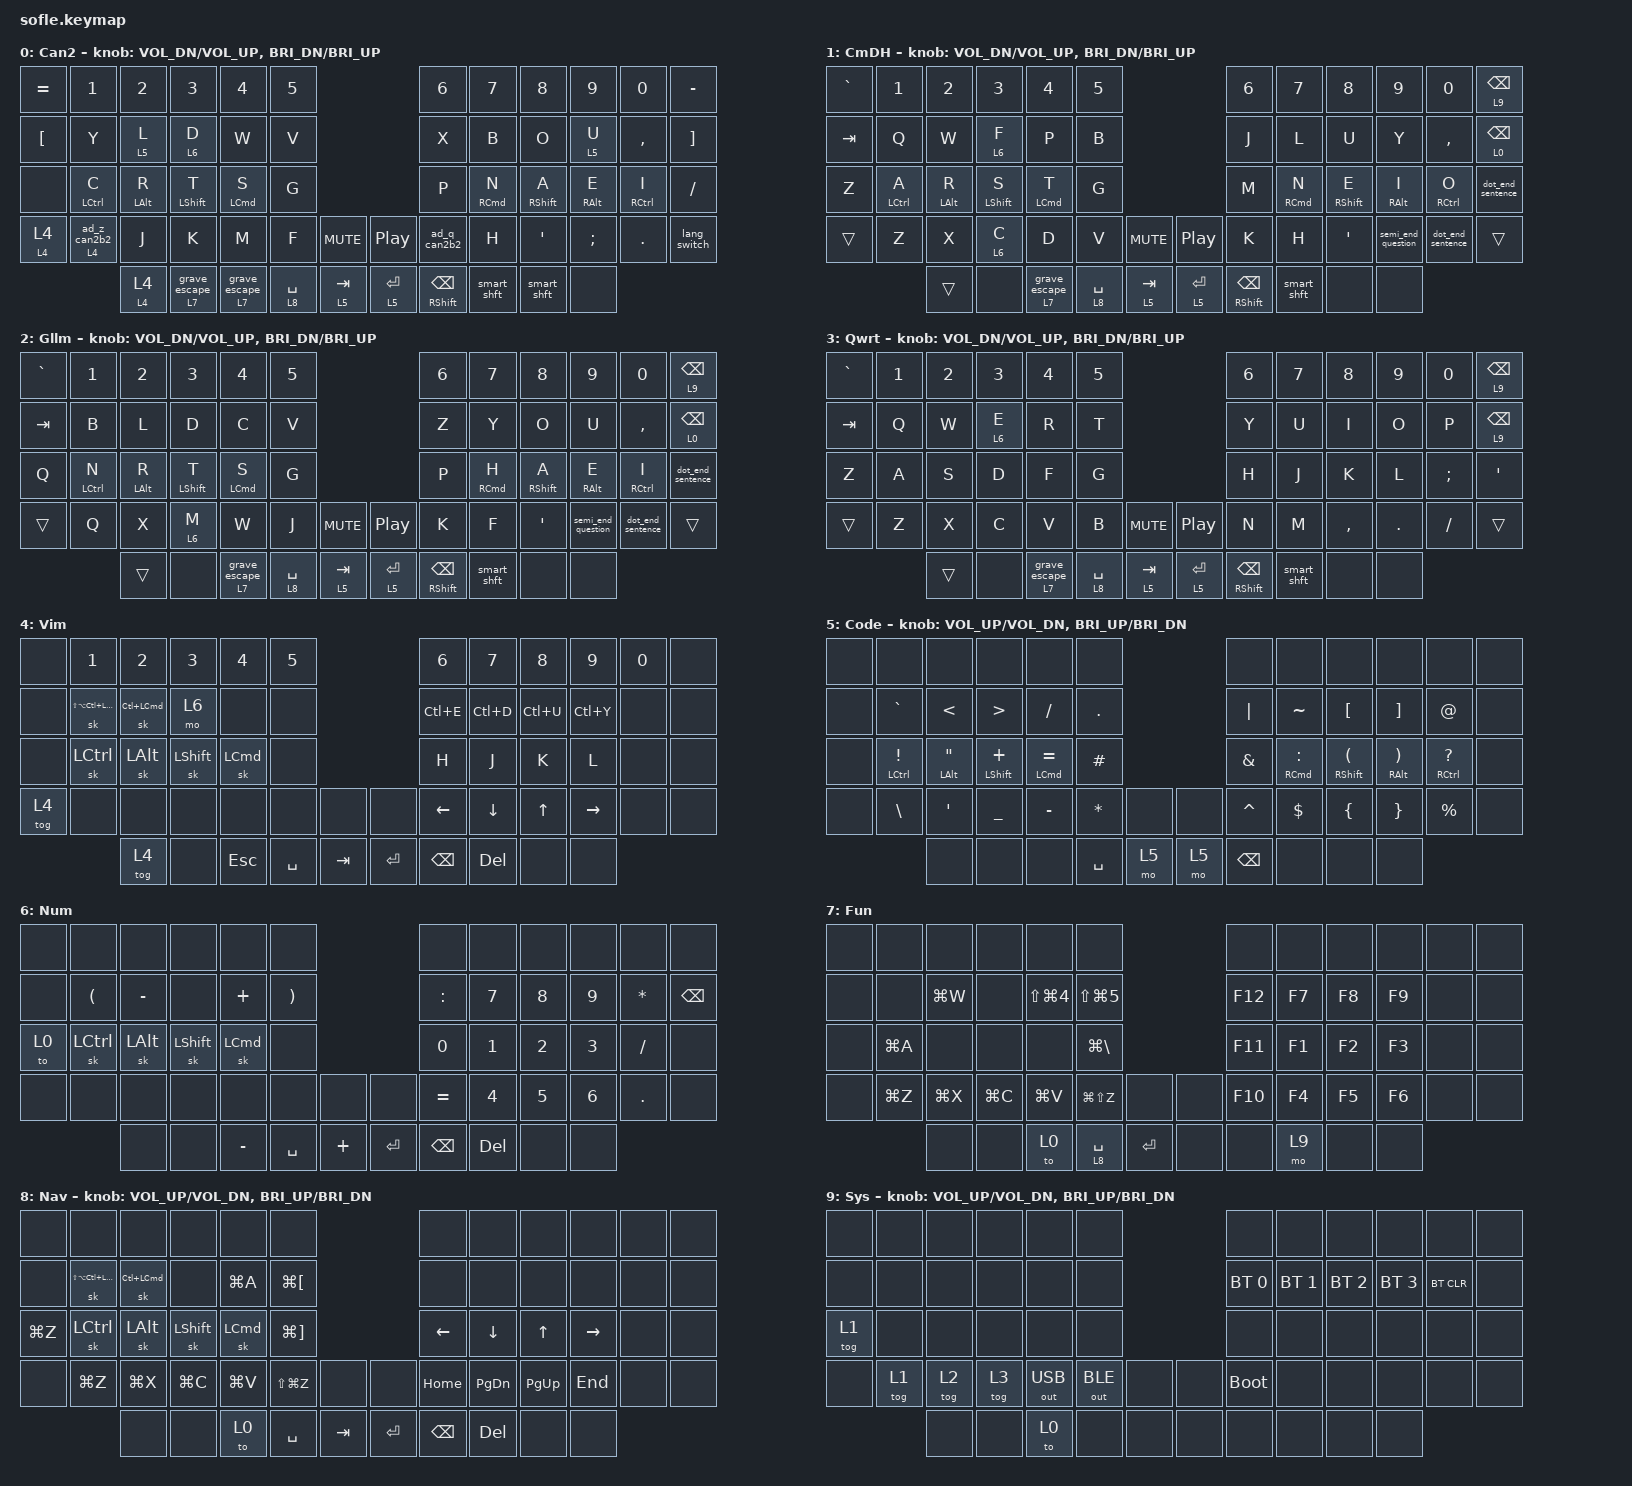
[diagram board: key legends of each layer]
/*
 * Copyright (c) 2020 The ZMK Contributors
 *
 * SPDX-License-Identifier: MIT
 */

#include <behaviors.dtsi>
#include <dt-bindings/zmk/bt.h>
#include <dt-bindings/zmk/keys.h>
#include <dt-bindings/zmk/outputs.h>

#define CMK 0
#define SMK 1
#define QWT 2
#define LOWER 3
#define RAISE 4
#define ADJUST 5

&mt { quick-tap-ms = <150>; };

&sl { /delete-property/ quick-release; };

&gresc {
    keep-mods = <(MOD_RSFT|MOD_LGUI|MOD_LCTL)>;
    mods = <(MOD_LGUI|MOD_LSFT|MOD_RGUI|MOD_RSFT|MOD_LCTL)>;
};

/ {
    behaviors {
        lh_hm: lh_hm {
            compatible = "zmk,behavior-hold-tap";
            label = "left_hand_homerow_mods";
            bindings = <&kp>, <&kp>;

            #binding-cells = <2>;
            tapping-term-ms = <280>;
            quick-tap-ms = <175>;
            flavor = "balanced";
            hold-trigger-on-release;
            hold-trigger-key-positions = <6 7 8 9 10 11 18 19 20 21 22 23 30 31 32 33 34 35 34 35 43 44 45 46 47 48 49 55 56 57 58 59 50 51 52 53 54>;
            require-prior-idle-ms = <75>;
        };

        rh_hm: rh_hm {
            compatible = "zmk,behavior-hold-tap";
            label = "right_hand_homerow_mods";
            bindings = <&kp>, <&kp>;

            #binding-cells = <2>;
            tapping-term-ms = <280>;
            quick-tap-ms = <175>;
            flavor = "balanced";
            hold-trigger-key-positions = <0 1 2 3 4 5 12 13 14 15 16 17 24 25 26 27 28 29 36 37 38 40 39 50 51 52 53 54 55 56 57 58 59 17 29 41 42>;
            hold-trigger-on-release;
            require-prior-idle-ms = <75>;
        };

        smart_shft: smart_shft {
            compatible = "zmk,behavior-mod-morph";
            label = "SMART_SHFT";
            bindings = <&quick_sk LSHFT>, <&caps_word>;

            #binding-cells = <0>;
            mods = <(MOD_LSFT)>;
        };

        quick_sk: quick_sk {
            compatible = "zmk,behavior-sticky-key";
            label = "QUICK_STICKY_KEY";
            bindings = <&kp>;
            #binding-cells = <1>;
            release-after-ms = <900>;
            quick-release;
        };

        quick_hold_tap: quick_hold_tap {
            compatible = "zmk,behavior-hold-tap";
            label = "QUICK_HOLD_TAP";
            bindings = <&quick_sk>, <&kp>;

            #binding-cells = <2>;
            tapping-term-ms = <120>;
            flavor = "balanced";
        };

        lh_lt: lh_lt {
            compatible = "zmk,behavior-hold-tap";
            label = "left_hand_layer_tap";
            bindings = <&mo>, <&kp>;

            #binding-cells = <2>;
            tapping-term-ms = <280>;
            quick-tap-ms = <175>;
            flavor = "balanced";
            hold-trigger-key-positions = <6 7 8 9 10 11 18 19 20 21 22 23 30 31 32 33 34 35 50 51 52 53 54 55 56 57 58 59 30 34 35 43 44 45 46 47 48 49 56 57 58 59>;
            hold-trigger-on-release;
            require-prior-idle-ms = <75>;
        };

        rh_lt: rh_lt {
            compatible = "zmk,behavior-hold-tap";
            label = "right_hand_layer_tap";
            bindings = <&mo>, <&kp>;

            #binding-cells = <2>;
            tapping-term-ms = <280>;
            quick-tap-ms = <175>;
            flavor = "balanced";
            hold-trigger-key-positions = <0 1 2 3 4 5 12 13 14 15 16 17 24 25 26 27 28 29 36 37 38 39 40 50 51 52 53 54 55 56 57 58 59 29 41 42>;
            hold-trigger-on-release;
            require-prior-idle-ms = <75>;
        };

        grave_escape: grave_escape {
            compatible = "zmk,behavior-mod-morph";
            label = "GRAVE_ESCAPE";
            bindings = <&kp ESC>, <&kp GRAVE>;

            #binding-cells = <0>;
            keep-mods = <(MOD_RSFT|MOD_LCTL|MOD_LGUI)>;
            mods = <(MOD_LGUI|MOD_RGUI|MOD_LCTL|MOD_LSFT|MOD_RSFT|MOD_RCTL|MOD_LALT|MOD_RALT)>;
        };

        layer_gresc: layer_gresc {
            compatible = "zmk,behavior-hold-tap";
            label = "LAYER_GRESC";
            bindings = <&mo>, <&grave_escape>;

            #binding-cells = <2>;
            tapping-term-ms = <200>;
            quick-tap-ms = <150>;
            flavor = "tap-preferred";
        };

        dot_end_sentence: dot_end_sentence {
            compatible = "zmk,behavior-mod-morph";
            label = "DOT_END_SENTENCE";
            bindings = <&kp DOT>, <&end_sentence>;

            #binding-cells = <0>;
            mods = <(MOD_LSFT|MOD_RSFT)>;
        };

        semi_end_question: semi_end_question {
            compatible = "zmk,behavior-mod-morph";
            label = "SEMI_END_QUESTION";
            bindings = <&kp SEMI>, <&m_question_comment>;

            #binding-cells = <0>;
            mods = <(MOD_LSFT|MOD_LGUI|MOD_RGUI)>;
            keep-mods = <(MOD_LGUI|MOD_RGUI)>;
        };

        layer_repeat: layer_repeat {
            compatible = "zmk,behavior-hold-tap";
            label = "LAYER_REPEAT";
            bindings = <&mo>, <&key_repeat>;

            #binding-cells = <2>;
            tapping-term-ms = <200>;
            quick-tap-ms = <150>;
        };

        m_question_comment: m_question_comment {
            compatible = "zmk,behavior-mod-morph";
            label = "M_QUESTION_COMMENT";
            bindings = <&end_question>, <&kp FSLH>;

            #binding-cells = <0>;
            mods = <(MOD_LGUI|MOD_RGUI)>;
            keep-mods = <(MOD_LGUI|MOD_RGUI)>;
        };

        lh_hm_quick: lh_hm_quick {
            compatible = "zmk,behavior-hold-tap";
            label = "LH_HM_QUICK";
            bindings = <&kp>, <&kp>;

            #binding-cells = <2>;
            tapping-term-ms = <280>;
            quick-tap-ms = <175>;
            flavor = "balanced";
            hold-trigger-on-release;
            require-prior-idle-ms = <10>;
            hold-trigger-key-positions = <55 46 47 48>;
        };

        layer_switcher: layer_switcher {
            compatible = "zmk,behavior-hold-tap";
            label = "LAYER_SWITCHER";
            bindings = <&mo>, <&tog>;

            #binding-cells = <2>;
            tapping-term-ms = <200>;
            flavor = "balanced";
        };

        ad_z_can2b2: ad_z_can2b2 {
            compatible = "zmk,behavior-antecedent-morph";
            label = "AD_Z_CAN2B2";
            #binding-cells = <0>;
            defaults = <&kp Z>;
            bindings =
                <&kp Y>,
                <&kp L>,
                <&kp K>,
                <&kp S>,
                <&kp S>,
                <&kp S>,
                <&kp M>,
                <&str_px>,
                <&kp H>,
                <&kp A>,
                <&kp E>,
                <&kp P>;

            max-delay-ms = <500>;
            antecedents = <C R L G W M S N P O U X>;
        };

        ad_q_can2b2: ad_q_can2b2 {
            compatible = "zmk,behavior-antecedent-morph";
            label = "AD_Q_CAN2B2";
            #binding-cells = <0>;
            defaults = <&kp Q>;
            bindings = <&kp L>, <&str_returns_q>;

            max-delay-ms = <500>;
            antecedents = <R L>;
        };

        layer_ad_z: layer_ad_z {
            compatible = "zmk,behavior-hold-tap";
            label = "LAYER_AD_Z";
            bindings = <&mo>, <&ad_z_can2b2>;

            #binding-cells = <2>;
            tapping-term-ms = <200>;
            quick-tap-ms = <175>;
            require-prior-idle-ms = <75>;
            flavor = "balanced";
            hold-trigger-key-positions = <6 7 8 9 10 11 18 19 20 21 22 23 30 31 32 33 34 35 43 44 45 46 47 48 49 55 56 57 58 59 50 51 52 53 54 42>;
            hold-trigger-on-release;
        };
    };

    macros {
        up_dir: up_dir {
            compatible = "zmk,behavior-macro";
            label = "UP_DIR";
            #binding-cells = <0>;
            bindings = <&kp DOT &kp DOT &kp FSLH>;
        };

        end_sentence: end_sentence {
            compatible = "zmk,behavior-macro";
            label = "END_SENTENCE";
            #binding-cells = <0>;
            bindings = <&kp DOT &kp SPACE &quick_sk LSHFT>;
            wait-ms = <30>;
            tap-ms = <30>;
        };

        end_question: end_question {
            compatible = "zmk,behavior-macro";
            label = "END_QUESTION";
            #binding-cells = <0>;
            bindings = <&kp QMARK &kp SPACE &quick_sk LSHFT>;
            tap-ms = <30>;
            wait-ms = <30>;
        };

        lang_switch: lang_switch {
            compatible = "zmk,behavior-macro";
            #binding-cells = <0>;
            bindings = <&tog 3 &kp LA(SPACE)>;
            label = "LANG_SWITCH";
        };

        str_px: str_px {
            compatible = "zmk,behavior-macro";
            #binding-cells = <0>;
            bindings = <&kp P &kp X>;
            label = "STR_PX";
            wait-ms = <30>;
            tap-ms = <4>;
        };

        str_returns_q: str_return_q {
            compatible = "zmk,behavior-macro";
            #binding-cells = <0>;
            bindings = <&kp BSPC &kp Q>;
            label = "STR_RETURN_Q";
        };
    };

    combos {
        compatible = "zmk,combos";

        one_hand_mode {
            bindings = <&to 8>;
            key-positions = <40 53>;
        };
    };

    keymap {
        compatible = "zmk,keymap";

        canary2b2 {
            // -------------------------------------------------------------------------------------
            // |  TAB |  Q  |  W  |  F  |  P  |  B  |   |  J  |  L   |  U  |  Y  |  :  |   BKSP    |
            // | CTRL |  A  |  R  |  S  |  T  |  G  |   |  M  |  N   |  E  |  I  |  O  |    '      |
            // | SHFT |  Z  |  X  |  C  |  D  |  V  |   |  K  |  H   |  ,  |  .  |  /  | SHFT(RET) |
            //              | LGUI   |  LWR/SPC  | RSE/ENT |   LSHFT/BKSP  | ALT |

            bindings = <
&kp EQUAL            &kp N1           &kp N2               &kp N3            &kp N4            &kp N5                                &kp N6          &kp N7         &kp N8          &kp N9         &kp N0          &kp MINUS
&kp LBKT             &kp Y            &lh_lt 5 L           &lh_lt 6 D        &kp W             &kp V                                 &kp X           &kp B          &kp O           &rh_lt 5 U     &kp COMMA       &kp RBKT
&none                &lh_hm LCTRL C   &lh_hm LALT R        &lh_hm LSHFT T    &lh_hm LCMD S     &kp G                                 &kp P           &rh_hm RCMD N  &rh_hm RSHFT A  &rh_hm RALT E  &rh_hm RCTRL I  &kp FSLH
&layer_switcher 4 4  &layer_ad_z 4 0  &kp J                &kp K             &kp M             &kp F        &kp C_MUTE    &kp C_PP   &ad_q_can2b2    &kp H          &kp SQT         &kp SEMI       &kp DOT         &lang_switch
                                      &layer_switcher 4 4  &layer_gresc 7 0  &layer_gresc 7 0  &lt 8 SPACE  &lt 5 TAB     &lt 5 RET  &mt RSHFT BSPC  &smart_shft    &smart_shft     &none
            >;

            sensor-bindings =
                <&inc_dec_kp C_VOL_DN C_VOL_UP>,
                <&inc_dec_kp C_BRI_DN C_BRI_UP>;

            label = "Can2";
        };

        default_layer {
            // ------------------------------------------------------------------------------------------------------------
            // |  `    |  1  |  2  |  3   |  4   |  5   |                   |  6   |  7    |  8    |  9   |   0   |       |
            // |  ESC  |  Q  |  W  |  E   |  R   |  T   |                   |  Y   |  U    |  I    |  O   |   P   | BKSPC |
            // |  TAB  |  A  |  S  |  D   |  F   |  G   |                   |  H   |  J    |  K    |  L   |   ;   |   '   |
            // | SHIFT |  Z  |  X  |  C   |  V   |  B   |  MUTE  |  |       |  N   |  M    |  ,    |  .   |   /   | SHIFT |
            //               | GUI | ALT  | CTRL | LOWER|  ENTER |  | SPACE | RAISE| CTRL  | ALT   | GUI  |

            bindings = <
&kp GRAVE  &kp N1          &kp N2         &kp N3                &kp N4               &kp N5                                  &kp N6          &kp N7         &kp N8          &kp N9              &kp N0             &lt 9 BSPC
&kp TAB    &kp Q           &kp W          &lh_lt 6 F            &kp P                &kp B                                   &kp J           &kp L          &kp U           &kp Y               &kp COMMA          &lt 0 BSPC
&kp Z      &lh_hm LCTRL A  &lh_hm LALT R  &lh_hm_quick LSHFT S  &lh_hm_quick LCMD T  &kp G                                   &kp M           &rh_hm RCMD N  &rh_hm RSHFT E  &rh_hm RALT I       &rh_hm RCTRL O     &dot_end_sentence
&trans     &kp Z           &kp X          &lh_lt 6 C            &kp D                &kp V        &kp C_MUTE    &kp C_PP     &kp K           &kp H          &kp SQT         &semi_end_question  &dot_end_sentence  &trans
                           &trans         &none                 &layer_gresc 7 0     &lt 8 SPACE  &lt 5 TAB     &lt 5 ENTER  &mt RSHFT BSPC  &smart_shft    &none           &none
            >;

            sensor-bindings =
                <&inc_dec_kp C_VOL_DN C_VOL_UP>,
                <&inc_dec_kp C_BRI_DN C_BRI_UP>;

            label = "CmDH";
        };

        gallium_layer {
            // -------------------------------------------------------------------------------------
            // |  TAB |  Q  |  W  |  F  |  P  |  B  |   |  J  |  L   |  U  |  Y  |  :  |   BKSP    |
            // | CTRL |  A  |  R  |  S  |  T  |  G  |   |  M  |  N   |  E  |  I  |  O  |    '      |
            // | SHFT |  Z  |  X  |  C  |  D  |  V  |   |  K  |  H   |  ,  |  .  |  /  | SHFT(RET) |
            //              | LGUI   |  LWR/SPC  | RSE/ENT |   LSHFT/BKSP  | ALT |

            bindings = <
&kp GRAVE  &kp N1          &kp N2         &kp N3                &kp N4               &kp N5                                  &kp N6          &kp N7         &kp N8          &kp N9              &kp N0             &lt 9 BSPC
&kp TAB    &kp B           &kp L          &kp D                 &kp C                &kp V                                   &kp Z           &kp Y          &kp O           &kp U               &kp COMMA          &lt 0 BSPC
&kp Q      &lh_hm LCTRL N  &lh_hm LALT R  &lh_hm_quick LSHFT T  &lh_hm_quick LCMD S  &kp G                                   &kp P           &rh_hm RCMD H  &rh_hm RSHFT A  &rh_hm RALT E       &rh_hm RCTRL I     &dot_end_sentence
&trans     &kp Q           &kp X          &lh_lt 6 M            &kp W                &kp J        &kp C_MUTE    &kp C_PP     &kp K           &kp F          &kp SQT         &semi_end_question  &dot_end_sentence  &trans
                           &trans         &none                 &layer_gresc 7 0     &lt 8 SPACE  &lt 5 TAB     &lt 5 ENTER  &mt RSHFT BSPC  &smart_shft    &none           &none
            >;

            sensor-bindings =
                <&inc_dec_kp C_VOL_DN C_VOL_UP>,
                <&inc_dec_kp C_BRI_DN C_BRI_UP>;

            label = "Gllm";
        };

        qwerty_layer {
            // -------------------------------------------------------------------------------------
            // |  TAB |  Q  |  W  |  F  |  P  |  B  |   |  J  |  L   |  U  |  Y  |  :  |   BKSP    |
            // | CTRL |  A  |  R  |  S  |  T  |  G  |   |  M  |  N   |  E  |  I  |  O  |    '      |
            // | SHFT |  Z  |  X  |  C  |  D  |  V  |   |  K  |  H   |  ,  |  .  |  /  | SHFT(RET) |
            //              | LGUI   |  LWR/SPC  | RSE/ENT |   LSHFT/BKSP  | ALT |

            bindings = <
&kp GRAVE  &kp N1  &kp N2  &kp N3      &kp N4            &kp N5                                  &kp N6          &kp N7       &kp N8     &kp N9   &kp N0    &lt 9 BSPC
&kp TAB    &kp Q   &kp W   &lh_lt 6 E  &kp R             &kp T                                   &kp Y           &kp U        &kp I      &kp O    &kp P     &lt 9 BSPC
&kp Z      &kp A   &kp S   &kp D       &kp F             &kp G                                   &kp H           &kp J        &kp K      &kp L    &kp SEMI  &kp APOS
&trans     &kp Z   &kp X   &kp C       &kp V             &kp B        &kp C_MUTE    &kp C_PP     &kp N           &kp M        &kp COMMA  &kp DOT  &kp FSLH  &trans
                   &trans  &none       &layer_gresc 7 0  &lt 8 SPACE  &lt 5 TAB     &lt 5 ENTER  &mt RSHFT BSPC  &smart_shft  &none      &none
            >;

            sensor-bindings =
                <&inc_dec_kp C_VOL_DN C_VOL_UP>,
                <&inc_dec_kp C_BRI_DN C_BRI_UP>;

            label = "Qwrt";
        };

        vim_nav_layer {
            bindings = <
&none   &kp N1                &kp N2        &kp N3     &kp N4    &kp N5                         &kp N6     &kp N7     &kp N8     &kp N9     &kp N0  &none
&none   &sk LS(LA(LC(LCMD)))  &sk LC(LCMD)  &mo 6      &none     &none                          &kp LC(E)  &kp LC(D)  &kp LC(U)  &kp LC(Y)  &none   &none
&none   &sk LCTRL             &sk LALT      &sk LSHFT  &sk LCMD  &none                          &kp H      &kp J      &kp K      &kp L      &none   &none
&tog 4  &none                 &none         &none      &none     &none      &none      &none    &kp LEFT   &kp DOWN   &kp UP     &kp RIGHT  &none   &none
                              &tog 4        &none      &kp ESC   &kp SPACE  &kp TAB    &kp RET  &kp BSPC   &kp DEL    &none      &none
            >;

            label = "Vim";
        };

        code_sym_layer {
            bindings = <
&none  &none              &none            &none              &none              &none                      &none      &none              &none              &none             &none               &none
&none  &kp GRAVE          &kp LT           &kp GT             &kp FSLH           &kp DOT                    &kp PIPE   &kp TILDE          &kp LBKT           &kp RBKT          &kp AT              &none
&none  &lh_hm LCTRL EXCL  &lh_hm LALT DQT  &lh_hm LSHFT PLUS  &lh_hm LCMD EQUAL  &kp HASH                   &kp AMPS   &rh_hm RCMD COLON  &rh_hm RSHFT LPAR  &rh_hm RALT RPAR  &rh_hm RCTRL QMARK  &none
&none  &kp BSLH           &kp SQT          &kp UNDER          &kp MINUS          &kp STAR   &none    &none  &kp CARET  &kp DLLR           &kp LBRC           &kp RBRC          &kp PRCNT           &none
                          &none            &none              &none              &kp SPACE  &mo 5    &mo 5  &kp BSPC   &none              &none              &none
            >;

            sensor-bindings = <&inc_dec_kp C_VOL_UP C_VOL_DN &inc_dec_kp C_BRI_UP C_BRI_DN>;
            label = "Code";
        };

        num_layer {
            bindings = <
&none  &none      &none      &none      &none      &none                           &none      &none    &none   &none   &none      &none
&none  &kp LPAR   &kp MINUS  &none      &kp PLUS   &kp RPAR                        &kp COLON  &kp N7   &kp N8  &kp N9  &kp ASTRK  &kp BSPC
&to 0  &sk LCTRL  &sk LALT   &sk LSHFT  &sk LCMD   &none                           &kp N0     &kp N1   &kp N2  &kp N3  &kp FSLH   &none
&none  &none      &none      &none      &none      &none      &none       &none    &kp EQUAL  &kp N4   &kp N5  &kp N6  &kp DOT    &none
                  &none      &none      &kp MINUS  &kp SPACE  &kp PLUS    &kp RET  &kp BSPC   &kp DEL  &none   &none
            >;

            label = "Num";
        };

        fun_layer {
            bindings = <
&none  &none      &none      &none      &none           &none                             &none    &none   &none   &none   &none  &none
&none  &none      &kp LG(W)  &none      &kp LS(LG(N4))  &kp LS(LG(N5))                    &kp F12  &kp F7  &kp F8  &kp F9  &none  &none
&none  &kp LG(A)  &none      &none      &none           &kp LG(BSLH)                      &kp F11  &kp F1  &kp F2  &kp F3  &none  &none
&none  &kp LG(Z)  &kp LG(X)  &kp LG(C)  &kp LG(V)       &kp LG(LS(Z))   &none      &none  &kp F10  &kp F4  &kp F5  &kp F6  &none  &none
                  &none      &none      &to 0           &lt 8 SPACE     &kp RET    &none  &none    &mo 9   &none   &none
            >;

            label = "Fun";
        };

        nav_layer {
            // -----------------------------------------------------------------------------------------
            // |    |  1  |  2  |  3  |  4  |  5  |   |  6  |  7  |  8  |  9  |  0  | DEL |
            // |    |  -  |  =  |  [  |  ]  |  \  |   | F1  | F2  | F3  | F4  | F5  | F6  |
            // |    | ESC | GUI | ALT | CAPS|  "  |   | F7  | F8  | F9  | F10 | F11 | F12 |
            //                       |     | ADJ | BKSP |    |     |

            bindings = <
&none      &none                 &none         &none      &none      &none                              &none     &none      &none      &none      &none  &none
&none      &sk LS(LA(LC(LCMD)))  &sk LC(LCMD)  &none      &kp LG(A)  &kp LG(LBKT)                       &none     &none      &none      &none      &none  &none
&kp LG(Z)  &sk LCTRL             &sk LALT      &sk LSHFT  &sk LCMD   &kp LG(RBKT)                       &kp LEFT  &kp DOWN   &kp UP     &kp RIGHT  &none  &none
&none      &kp LG(Z)             &kp LG(X)     &kp LG(C)  &kp LG(V)  &kp LS(LG(Z))  &none      &none    &kp HOME  &kp PG_DN  &kp PG_UP  &kp END    &none  &none
                                 &none         &none      &to 0      &kp SPACE      &kp TAB    &kp RET  &kp BSPC  &kp DEL    &none      &none
            >;

            sensor-bindings = <&inc_dec_kp C_VOL_UP C_VOL_DN &inc_dec_kp C_BRI_UP C_BRI_DN>;
            label = "Nav";
        };

        sys_layer {
            // -----------------------------------------------------------------------------------------
            // | RGB BRI+ | RGB SAT+ | RGB HUE+ | RGB ANI+ |    | RGB TOG |   |  BT1  | BT2 | BT3 | BT4 | BT5 | BT CLR |
            // | RGB BRI- | RGB SAT- | RGB HUE- | RGB ANI- |    |         |   |       |     |     |     |     |        |
            // |          |          |          |          |    |         |   |       |     |     |     |     |        |
            //                                              |     |     |     |     |     |

            bindings = <
&none   &none   &none   &none   &none         &none                         &none         &none         &none         &none         &none       &none
&none   &none   &none   &none   &none         &none                         &bt BT_SEL 0  &bt BT_SEL 1  &bt BT_SEL 2  &bt BT_SEL 3  &bt BT_CLR  &none
&tog 1  &none   &none   &none   &none         &none                         &none         &none         &none         &none         &none       &none
&none   &tog 1  &tog 2  &tog 3  &out OUT_USB  &out OUT_BLE  &none    &none  &bootloader   &none         &none         &none         &none       &none
                &none   &none   &to 0         &none         &none    &none  &none         &none         &none         &none
            >;

            sensor-bindings = <&inc_dec_kp C_VOL_UP C_VOL_DN &inc_dec_kp C_BRI_UP C_BRI_DN>;
            label = "Sys";
        };
    };
};
